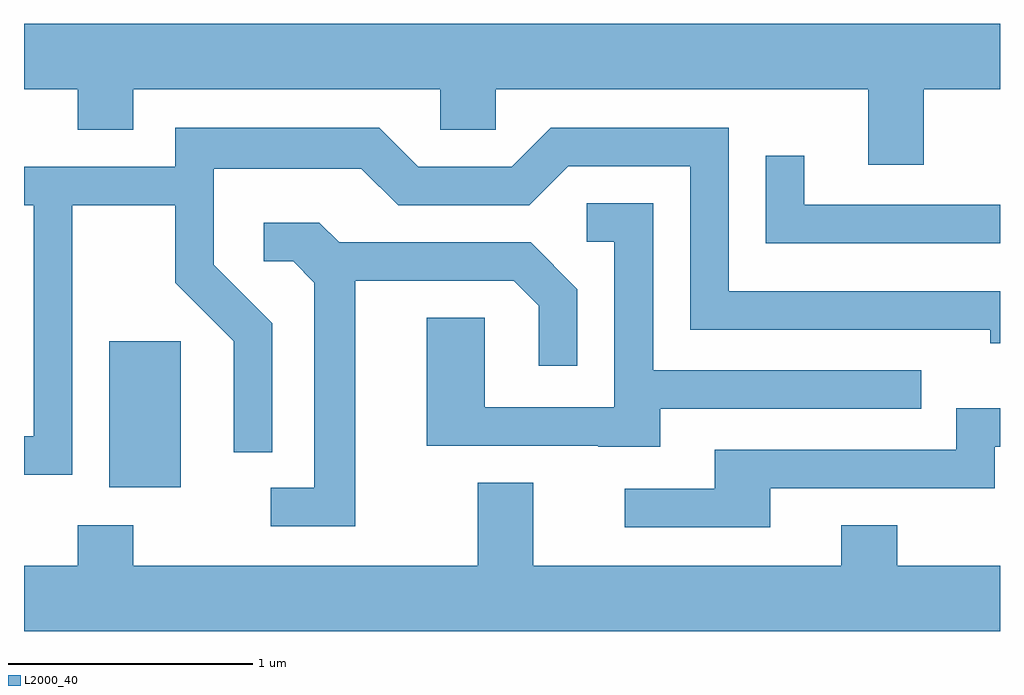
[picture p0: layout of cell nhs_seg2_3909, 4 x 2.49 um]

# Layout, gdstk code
import gdstk
lib = gdstk.Library(unit=1e-6, precision=1e-09)
def R(c, l, rs):  # rectangles x0, y0, x1, y1
    for r in rs: c.add(gdstk.rectangle(r[:2], r[2:], *l))
def P(c, l, *ps):  # polygons
    for p in ps: c.add(gdstk.Polygon(p, *l))
L2000_40 = (2000, 40)

nhs_seg2_3909 = lib.new_cell('nhs_seg2_3909')
R(nhs_seg2_3909, L2000_40, [(299.961,1064.446,300.254,1065.044)])
P(nhs_seg2_3909, L2000_40, [(303.299,1066.076),(303.611,1066.076),(303.611,1066.344),(299.611,1066.344),(299.611,1066.076),(299.831,1066.076),(299.831,1065.911),(300.059,1065.911),(300.059,1066.076),(301.316,1066.076),(301.316,1065.911),(301.544,1065.911),(301.544,1066.076),(303.071,1066.076),(303.071,1065.766),(303.299,1065.766)],
  [(299.809,1065.601),(300.231,1065.601),(300.231,1065.284),(300.471,1065.044),(300.471,1064.588),(300.629,1064.588),(300.629,1065.117),(300.389,1065.357),(300.389,1065.751),(300.994,1065.751),(301.144,1065.601),(301.682,1065.601),(301.842,1065.761),(302.341,1065.761),(302.341,1065.091),(303.571,1065.091),(303.571,1065.036),(303.611,1065.036),(303.611,1065.249),(302.499,1065.249),(302.499,1065.919),(301.769,1065.919),(301.609,1065.759),(301.227,1065.759),(301.067,1065.919),(300.231,1065.919),(300.231,1065.759),(299.611,1065.759),(299.611,1065.601),(299.651,1065.601),(299.651,1064.654),(299.611,1064.654),(299.611,1064.496),(299.809,1064.496)],
  [(303.611,1065.604),(302.809,1065.604),(302.809,1065.803),(302.651,1065.803),(302.651,1065.446),(303.611,1065.446)],
  [(302.219,1064.766),(303.288,1064.766),(303.288,1064.924),(302.189,1064.924),(302.189,1065.609),(301.918,1065.609),(301.918,1065.451),(302.031,1065.451),(302.031,1064.774),(301.499,1064.774),(301.499,1065.139),(301.261,1065.139),(301.261,1064.616),(301.965,1064.616),(301.965,1064.611),(302.219,1064.611)],
  [(300.969,1065.291),(301.619,1065.291),(301.721,1065.189),(301.721,1064.943),(301.879,1064.943),(301.879,1065.257),(301.687,1065.449),(300.902,1065.449),(300.822,1065.529),(300.593,1065.529),(300.593,1065.371),(300.714,1065.371),(300.801,1065.284),(300.801,1064.444),(300.623,1064.444),(300.623,1064.286),(300.969,1064.286)],
  [(302.669,1064.441),(303.589,1064.441),(303.589,1064.611),(303.611,1064.611),(303.611,1064.769),(303.431,1064.769),(303.431,1064.599),(302.441,1064.599),(302.441,1064.439),(302.073,1064.439),(302.073,1064.281),(302.669,1064.281)],
  [(303.611,1064.124),(303.189,1064.124),(303.189,1064.289),(302.961,1064.289),(302.961,1064.124),(301.699,1064.124),(301.699,1064.464),(301.471,1064.464),(301.471,1064.124),(300.059,1064.124),(300.059,1064.289),(299.831,1064.289),(299.831,1064.124),(299.611,1064.124),(299.611,1063.856),(303.611,1063.856)])

lib.write_gds('nhs_seg2_3909.gds')
